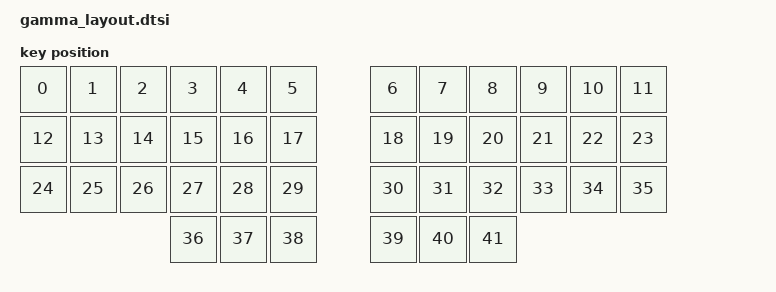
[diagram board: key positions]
/*
 * Physical layout for the gamma split keyboard. Required by ZMK Studio
 * (and a nice-to-have regardless — Studio renders the editor against
 * these coordinates).
 *
 * 42 keys total, in keymap order:
 *   row 0: cols 0..5 (left), cols 6..11 (right)   = 12 keys
 *   row 1: same shape                              = 12 keys
 *   row 2: same shape                              = 12 keys
 *   thumbs: 3 left + 3 right                       =  6 keys
 *
 * Coordinates are in 1/100-of-a-key units (so 100 = 1u). The two halves
 * are placed with a 200-unit gap between them; tweak the layout in
 * Studio later if the real hardware has a different splay.
 */

#include <physical_layouts.dtsi>

/ {
    gamma_layout: gamma_layout {
        compatible = "zmk,physical-layout";
        display-name = "Gamma";

        keys  //                        w   h    x    y    rot   rx   ry
            /* row 0 */
            = <&key_physical_attrs 100 100    0    0     0    0    0>
            , <&key_physical_attrs 100 100  100    0     0    0    0>
            , <&key_physical_attrs 100 100  200    0     0    0    0>
            , <&key_physical_attrs 100 100  300    0     0    0    0>
            , <&key_physical_attrs 100 100  400    0     0    0    0>
            , <&key_physical_attrs 100 100  500    0     0    0    0>
            , <&key_physical_attrs 100 100  700    0     0    0    0>
            , <&key_physical_attrs 100 100  800    0     0    0    0>
            , <&key_physical_attrs 100 100  900    0     0    0    0>
            , <&key_physical_attrs 100 100 1000    0     0    0    0>
            , <&key_physical_attrs 100 100 1100    0     0    0    0>
            , <&key_physical_attrs 100 100 1200    0     0    0    0>
            /* row 1 */
            , <&key_physical_attrs 100 100    0  100     0    0    0>
            , <&key_physical_attrs 100 100  100  100     0    0    0>
            , <&key_physical_attrs 100 100  200  100     0    0    0>
            , <&key_physical_attrs 100 100  300  100     0    0    0>
            , <&key_physical_attrs 100 100  400  100     0    0    0>
            , <&key_physical_attrs 100 100  500  100     0    0    0>
            , <&key_physical_attrs 100 100  700  100     0    0    0>
            , <&key_physical_attrs 100 100  800  100     0    0    0>
            , <&key_physical_attrs 100 100  900  100     0    0    0>
            , <&key_physical_attrs 100 100 1000  100     0    0    0>
            , <&key_physical_attrs 100 100 1100  100     0    0    0>
            , <&key_physical_attrs 100 100 1200  100     0    0    0>
            /* row 2 */
            , <&key_physical_attrs 100 100    0  200     0    0    0>
            , <&key_physical_attrs 100 100  100  200     0    0    0>
            , <&key_physical_attrs 100 100  200  200     0    0    0>
            , <&key_physical_attrs 100 100  300  200     0    0    0>
            , <&key_physical_attrs 100 100  400  200     0    0    0>
            , <&key_physical_attrs 100 100  500  200     0    0    0>
            , <&key_physical_attrs 100 100  700  200     0    0    0>
            , <&key_physical_attrs 100 100  800  200     0    0    0>
            , <&key_physical_attrs 100 100  900  200     0    0    0>
            , <&key_physical_attrs 100 100 1000  200     0    0    0>
            , <&key_physical_attrs 100 100 1100  200     0    0    0>
            , <&key_physical_attrs 100 100 1200  200     0    0    0>
            /* thumbs (3 left + 3 right) */
            , <&key_physical_attrs 100 100  300  300     0    0    0>
            , <&key_physical_attrs 100 100  400  300     0    0    0>
            , <&key_physical_attrs 100 100  500  300     0    0    0>
            , <&key_physical_attrs 100 100  700  300     0    0    0>
            , <&key_physical_attrs 100 100  800  300     0    0    0>
            , <&key_physical_attrs 100 100  900  300     0    0    0>
            ;
    };

    gamma_position_map: gamma_position_map {
        compatible = "zmk,physical-layout-position-map";
        complete;
        gamma {
            physical-layout = <&gamma_layout>;
            positions
                = < 0  1  2  3  4  5  6  7  8  9 10 11>
                , <12 13 14 15 16 17 18 19 20 21 22 23>
                , <24 25 26 27 28 29 30 31 32 33 34 35>
                , <         36 37 38 39 40 41         >;
        };
    };
};

&gamma_layout {
    transform = <&default_transform>;
};
